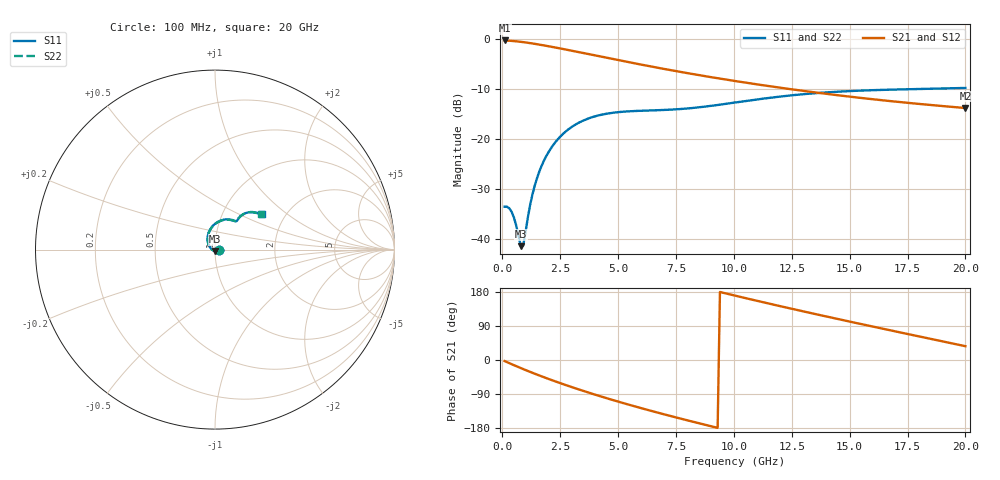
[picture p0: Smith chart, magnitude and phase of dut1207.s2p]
! Touchstone file exported from HFSS 2024.1.0
!  File:  C:/UserFiles/LocalFiles/RDL_TSV_Batchsim/temp_RDL_TSV_1207_1780258469.aedt
!  Generated:  04:30:47 AM Jun  1, 2026
!  Design:  RDL_TSV
!  Project:  temp_RDL_TSV_1207_1780258469
!  Setup:  Setup1
!  Solution:  Sweep
! Variables:
!  dtsv = 14.3um
!  hbump = 3um
!  htsv = 83.93um
!  ldown = 676.59um
!  lrdl = 682.04um
!  p = 40
!  p1 = 44.88um
!  rhole = 10um
!  subl = 4757.93um
!  t = 450um
!  tdown = 4.79um
!  trdl = 3.23um
!  viad = 10um
!  wdown = 24.6um
!  wrdl = 19.96um
!  xbump = 18um
# GHz S MA R 50.000000
! Terminal data exported
! Port[1] = TM1_1_T1
! Port[2] = TM1_4_T1
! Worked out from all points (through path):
!   200 points, 100 MHz to 20 GHz, reference 50 ohm
!   highest |S21| = -0.19 dB at 100 MHz (marker M1); lowest = -13.7 dB at 20 GHz (marker M2)
!   group delay of S21, straight-line fit = 42.8 ps
!   lowest |S11| = -41.4 dB at 800 MHz (marker M3), VSWR 1.02, Z = 50 - j0.855 ohm
!   |S11| at or under -10 dB: start of sweep to 17.1 GHz
!   |S22| runs from -41.3 to -9.8 dB; largest |S21 - S12| = 1.1e-14
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0.1  0.02124 -3.0  0.9779 -2.8  0.9779 -2.8  0.02124 -3.0
! Gamma 0 0 0 0
! Port Impedance 50 0 50 0
0.4  0.01893 -22.3  0.9683 -10.9  0.9683 -10.9  0.01897 -22.3
0.6  0.01378 -44.1  0.9591 -16.2  0.9591 -16.2  0.01386 -44.0
0.8  0.008558 -91.1  0.9479 -21.4  0.9479 -21.4  0.008621 -90.2
0.9  0.008646 -130.3  0.9415 -23.9  0.9415 -23.9  0.008608 -129.0
1.2  0.02196 167.2  0.9204 -31.4  0.9204 -31.4  0.02166 167.5
1.4  0.03444 151.3  0.905 -36.2  0.905 -36.2  0.03401 151.4
1.8  0.06136 131.2  0.8724 -45.5  0.8724 -45.5  0.0607 131.3
2.1  0.0815 120.0  0.8473 -52.3  0.8473 -52.3  0.08065 120.0
2.5  0.1066 107.6  0.8138 -61.0  0.8138 -61.0  0.1055 107.6
3.5  0.1546 84.4  0.7324 -81.6  0.7324 -81.6  0.153 84.3
4.3  0.1771 71.4  0.6718 -97.0  0.6718 -97.0  0.1751 71.4
5.1  0.1884 62.4  0.6163 -111.5  0.6163 -111.5  0.1862 62.4
5.9  0.1933 56.7  0.5665 -125.4  0.5665 -125.4  0.191 56.8
6.8  0.1964 53.6  0.517 -140.3  0.517 -140.3  0.1941 53.7
8.3  0.2073 52.8  0.4479 -164.0  0.4479 -164.0  0.2052 53.0
10.1  0.2348 52.5  0.3827 169.1  0.3827 169.1  0.2328 52.7
11.7  0.2635 50.2  0.3368 146.3  0.3368 146.3  0.2616 50.4
13.4  0.2888 46.5  0.2977 122.8  0.2977 122.8  0.2869 46.6
15  0.3047 42.9  0.268 101.4  0.268 101.4  0.3028 43.0
16.7  0.3146 40.0  0.2427 79.1  0.2427 79.1  0.3126 40.0
20  0.3275 37.5  0.2062 36.4  0.2062 36.4  0.3253 37.4
